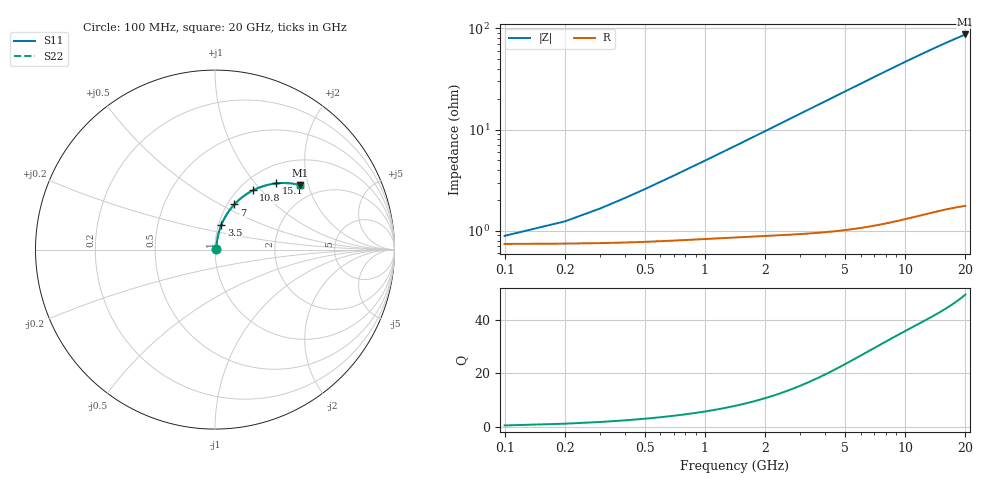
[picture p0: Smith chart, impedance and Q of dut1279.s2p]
! Touchstone file exported from HFSS 2026.1.0
!  File:  C:/ffzhzh/LocalFiles/Ansys_Project_Files/temp_train_BSMRDL_1279_1783177826_55132.aedt
!  Generated:  11:11:39 PM Jul  4, 2026
!  Design:  BSMRDL
!  Project:  temp_train_BSMRDL_1279_1783177826_55132
! Variables:
!  h_bsmrdl = 2.64um
!  h_ox = 20um
!  h_rdl = 5um
!  h_sub = 80um
!  h_tmrdl = 5um
!  h_tsv = 80um
!  h_via = 3um
!  l_bsmrdl = 655.32um
!  l_sub = 1055.32um
!  l_tmrdl = 200um
!  m_sub = 200um
!  pitch = 57.78um
!  r_tsv = 6um
!  s_tmrdl = 10um
!  w_bsmrdl = 11.95um
!  w_sub = 500um
!  w_tmrdl = 12um
!  x_tsv_center1 = 206um
!  x_tsv_center2 = 873.27um
!  x_tsv_center3 = 1085.27um
!  x_tsv_center4 = 1752.54um
!  x_tsv_center5 = 1964.54um
!  x_tsv_center6 = 2631.81um
# GHz S MA R 50.000000
! Terminal data exported
! Port[1] = BSM_RDL1_1_T1
! Port[2] = BSM_RDL1_1_T2
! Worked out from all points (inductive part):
!   200 points, 100 MHz to 20 GHz, reference 50 ohm
!   read as one part in series: L = 778 pH near 500 MHz
!   highest Q = 49.4 at 20 GHz (marker M1), where L = 692 pH
!   S11 on the Smith chart (normalised r, x): 100 MHz: 1.01, +0.01; 3.5 GHz: 1.03, +0.29; 7 GHz: 1.08, +0.58; 10.8 GHz: 1.16, +0.91; 15.1 GHz: 1.31, +1.30; 20 GHz: 1.59, +1.77
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0.1  0.008524 29.9  0.9926 -0.3  0.9926 -0.3  0.008524 29.9
! Gamma 0 0 0 0
! Port Impedance 50 0 50 0
0.3  0.01485 58.7  0.9924 -1.0  0.9924 -1.0  0.01485 58.7
0.4  0.01866 64.7  0.9922 -1.3  0.9922 -1.3  0.01866 64.7
0.5  0.0226 68.5  0.9921 -1.6  0.9921 -1.6  0.0226 68.5
0.6  0.02659 71.0  0.9918 -1.9  0.9918 -1.9  0.02659 71.0
0.8  0.03463 74.1  0.9914 -2.5  0.9914 -2.5  0.03464 74.1
1.1  0.04673 76.3  0.9906 -3.4  0.9906 -3.4  0.04673 76.3
1.5  0.06286 77.5  0.9895 -4.7  0.9895 -4.7  0.06286 77.5
2.1  0.08701 77.7  0.9874 -6.5  0.9874 -6.5  0.08701 77.7
2.7  0.111 77.0  0.9848 -8.3  0.9848 -8.3  0.111 77.0
3.5  0.1427 75.6  0.9805 -10.7  0.9805 -10.7  0.1427 75.5
4.2  0.17 74.0  0.9759 -12.8  0.9759 -12.8  0.17 74.0
5  0.2005 72.0  0.9699 -15.2  0.9699 -15.2  0.2005 72.0
6.8  0.2662 67.4  0.9533 -20.3  0.9533 -20.3  0.2662 67.3
7  0.2733 66.9  0.9513 -20.9  0.9513 -20.9  0.2733 66.8
8.5  0.3239 63.0  0.9348 -25.1  0.9348 -25.1  0.324 62.9
10.1  0.374 58.9  0.9154 -29.3  0.9154 -29.3  0.374 58.8
10.8  0.3946 57.1  0.9066 -31.1  0.9066 -31.1  0.3946 57.1
13.4  0.4639 51.0  0.8727 -37.5  0.8727 -37.5  0.4639 50.9
15.1  0.5035 47.2  0.8504 -41.3  0.8504 -41.3  0.5035 47.1
16.7  0.5368 43.7  0.8298 -44.8  0.8298 -44.8  0.5368 43.7
20  0.5947 37.2  0.7897 -51.5  0.7897 -51.5  0.5948 37.1
